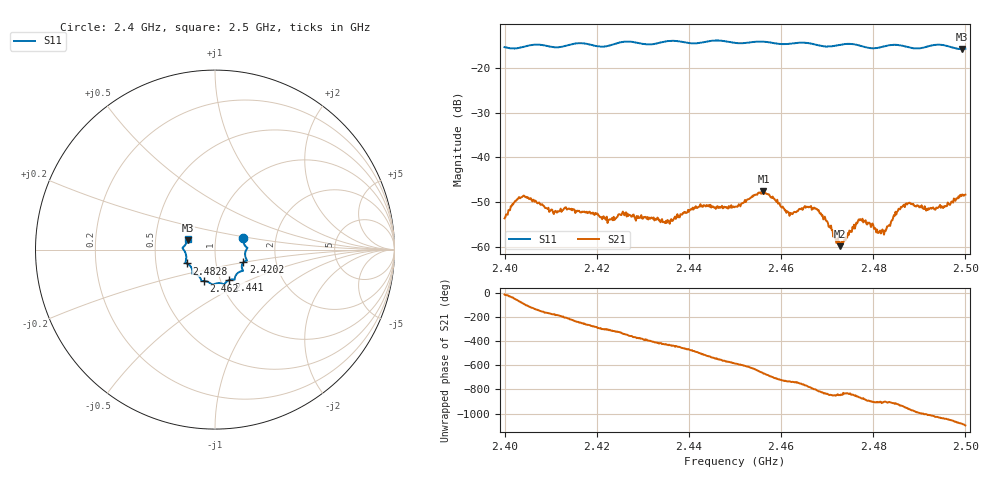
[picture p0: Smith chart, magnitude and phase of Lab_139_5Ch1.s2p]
# Hz S RI R 50
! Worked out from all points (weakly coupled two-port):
!   601 points, 2.4 GHz to 2.5 GHz, reference 50 ohm
!   highest |S21| = -47.54 dB at 2.4562 GHz (marker M1); lowest = -59.8 dB at 2.4728 GHz (marker M2)
!   lowest |S11| = -15.8 dB at 2.4993 GHz (marker M3), VSWR 1.39, Z = 36.6 + j3.86 ohm
!   |S11| at or under -10 dB: start of sweep to end of sweep
!   S12 and S22 are empty: the file has one direction only
!   S11 on the Smith chart (normalised r, x): 2.4 GHz: 1.36, +0.18; 2.4202 GHz: 1.36, -0.20; 2.441 GHz: 1.10, -0.39; 2.462 GHz: 0.84, -0.30; 2.4828 GHz: 0.72, -0.11; 2.5 GHz: 0.73, +0.09
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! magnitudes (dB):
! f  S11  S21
! 2.4 GHz  -15.4  -53.6
! 2.4042 GHz  -15.3  -48.5
! 2.4102 GHz  -15.3  -51.6
! 2.4167 GHz  -14.5  -52.2
! 2.4202 GHz  -15.2  -52.5
! 2.4333 GHz  -14.5  -53.6
! 2.4362 GHz  -14.0  -53.8
! 2.441 GHz  -14.6  -51.6
! 2.45 GHz  -14.5  -51.0
! 2.4562 GHz  -14.2  -47.5
! 2.462 GHz  -14.6  -52.4
! 2.4667 GHz  -14.6  -51.7
! 2.4685 GHz  -15.1  -52.5
! 2.4728 GHz  -14.9  -59.8
! 2.4772 GHz  -15.1  -53.8
! 2.4812 GHz  -15.5  -56.8
! 2.4828 GHz  -15.1  -56.0
! 2.4833 GHz  -15.0  -55.2
! 2.4875 GHz  -15.4  -50.2
! 2.4937 GHz  -14.9  -51.2
! 2.4993 GHz  -15.8  -48.2
! 2.5 GHz  -15.7  -48.3
